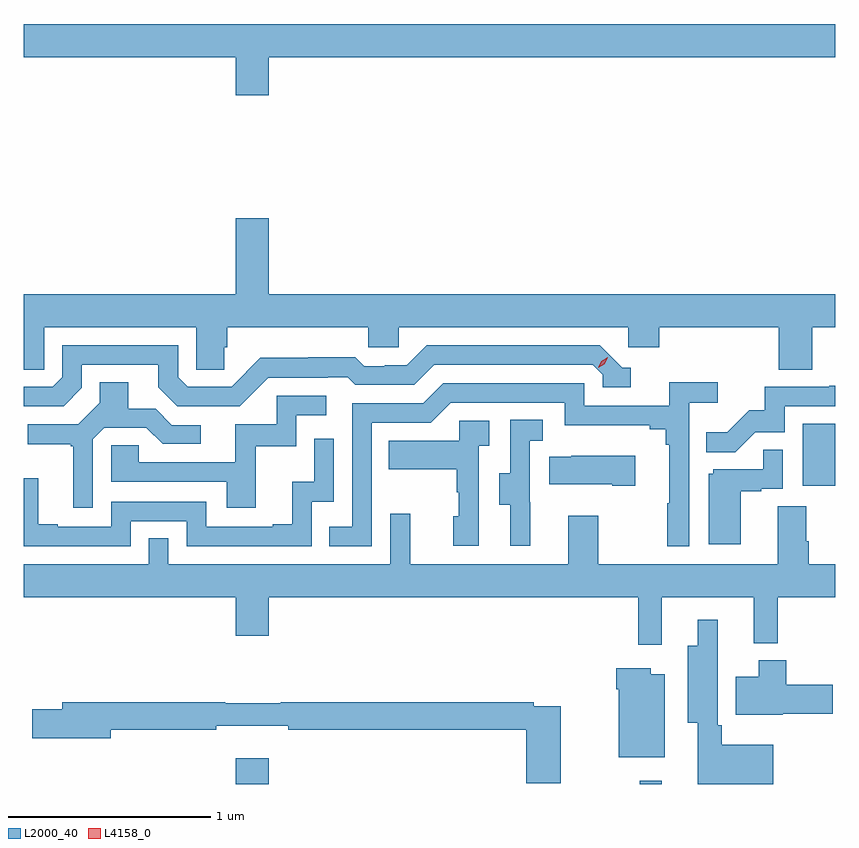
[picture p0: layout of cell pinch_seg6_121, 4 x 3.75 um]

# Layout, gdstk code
import gdstk
lib = gdstk.Library(unit=1e-6, precision=1e-09)
def R(c, l, rs):  # rectangles x0, y0, x1, y1
    for r in rs: c.add(gdstk.rectangle(r[:2], r[2:], *l))
def P(c, l, *ps):  # polygons
    for p in ps: c.add(gdstk.Polygon(p, *l))
L2000_40 = (2000, 40)
L4158_0 = (4158, 0)

pinch_seg6_121 = lib.new_cell('pinch_seg6_121')
R(pinch_seg6_121, L2000_40, [(1004.168,930.432,1004.332,930.559), (1006.161,930.432,1006.27,930.448), (1006.964,931.902,1007.124,932.209)])
P(pinch_seg6_121, L2000_40, [(1004.332,934.016),(1007.124,934.016),(1007.124,934.18),(1003.124,934.18),(1003.124,934.016),(1004.168,934.016),(1004.168,933.828),(1004.332,933.828)],
  [(1003.224,932.684),(1003.974,932.684),(1003.974,932.476),(1004.111,932.476),(1004.111,932.586),(1004.126,932.586),(1004.126,932.684),(1004.823,932.684),(1004.823,932.586),(1004.973,932.586),(1004.973,932.684),(1006.104,932.684),(1006.104,932.586),(1006.256,932.586),(1006.256,932.684),(1006.847,932.684),(1006.847,932.476),(1007.012,932.476),(1007.012,932.684),(1007.124,932.684),(1007.124,932.848),(1004.332,932.848),(1004.332,933.223),(1004.168,933.223),(1004.168,932.848),(1003.124,932.848),(1003.124,932.476),(1003.224,932.476)],
  [(1003.41,932.385),(1003.41,932.499),(1003.787,932.499),(1003.787,932.389),(1003.881,932.295),(1004.187,932.295),(1004.328,932.436),(1004.621,932.436),(1004.621,932.439),(1004.72,932.439),(1004.759,932.4),(1005.048,932.4),(1005.147,932.499),(1005.93,932.499),(1005.978,932.451),(1005.978,932.388),(1006.117,932.388),(1006.117,932.484),(1006.074,932.484),(1005.963,932.595),(1005.11,932.595),(1005.011,932.496),(1004.904,932.496),(1004.904,932.493),(1004.801,932.493),(1004.759,932.536),(1004.526,932.536),(1004.526,932.533),(1004.29,932.533),(1004.148,932.391),(1003.932,932.391),(1003.884,932.439),(1003.884,932.595),(1003.314,932.595),(1003.314,932.439),(1003.266,932.391),(1003.124,932.391),(1003.124,932.295),(1003.32,932.295)],
  [(1003.464,932.133),(1003.521,932.19),(1003.727,932.19),(1003.808,932.109),(1003.996,932.109),(1003.996,932.202),(1003.854,932.202),(1003.774,932.282),(1003.639,932.282),(1003.639,932.414),(1003.499,932.414),(1003.499,932.312),(1003.392,932.205),(1003.143,932.205),(1003.143,932.108),(1003.356,932.108),(1003.356,932.097),(1003.367,932.097),(1003.367,931.794),(1003.464,931.794)],
  [(1004.838,932.214),(1005.129,932.214),(1005.228,932.313),(1005.792,932.313),(1005.792,932.201),(1006.211,932.201),(1006.211,932.182),(1006.288,932.182),(1006.288,932.105),(1006.307,932.105),(1006.307,931.817),(1006.296,931.817),(1006.296,931.605),(1006.404,931.605),(1006.404,932.312),(1006.546,932.312),(1006.546,932.414),(1006.307,932.414),(1006.307,932.298),(1005.888,932.298),(1005.888,932.409),(1005.191,932.409),(1005.092,932.31),(1004.742,932.31),(1004.742,931.701),(1004.629,931.701),(1004.629,931.605),(1004.838,931.605)],
  [(1006.731,932.166),(1006.875,932.166),(1006.875,932.295),(1007.124,932.295),(1007.124,932.396),(1007.095,932.396),(1007.095,932.391),(1006.777,932.391),(1006.777,932.274),(1006.7,932.274),(1006.593,932.167),(1006.489,932.167),(1006.489,932.068),(1006.633,932.068)],
  [(1004.267,932.097),(1004.466,932.097),(1004.466,932.25),(1004.614,932.25),(1004.614,932.346),(1004.37,932.346),(1004.37,932.205),(1004.165,932.205),(1004.165,932.019),(1003.691,932.019),(1003.691,932.103),(1003.554,932.103),(1003.554,931.923),(1004.123,931.923),(1004.123,931.794),(1004.267,931.794)],
  [(1005.62,931.821),(1005.618,931.821),(1005.618,932.125),(1005.682,932.125),(1005.682,932.228),(1005.522,932.228),(1005.522,931.965),(1005.467,931.965),(1005.467,931.81),(1005.521,931.81),(1005.521,931.608),(1005.62,931.608)],
  [(1005.366,932.099),(1005.418,932.099),(1005.418,932.223),(1005.27,932.223),(1005.27,932.125),(1004.923,932.125),(1004.923,931.985),(1005.258,931.985),(1005.258,931.871),(1005.268,931.871),(1005.268,931.752),(1005.242,931.752),(1005.242,931.608),(1005.366,931.608)],
  [(1003.65,931.728),(1003.926,931.728),(1003.926,931.605),(1004.544,931.605),(1004.544,931.824),(1004.652,931.824),(1004.652,932.134),(1004.556,932.134),(1004.556,931.922),(1004.447,931.922),(1004.447,931.714),(1004.351,931.714),(1004.351,931.701),(1004.022,931.701),(1004.022,931.824),(1003.554,931.824),(1003.554,931.701),(1003.291,931.701),(1003.291,931.714),(1003.195,931.714),(1003.195,931.939),(1003.124,931.939),(1003.124,931.605),(1003.65,931.605)],
  [(1006.66,931.875),(1006.76,931.875),(1006.76,931.887),(1006.866,931.887),(1006.866,932.081),(1006.771,932.081),(1006.771,931.983),(1006.524,931.983),(1006.524,931.962),(1006.502,931.962),(1006.502,931.614),(1006.66,931.614)],
  [(1006.138,932.05),(1005.823,932.05),(1005.823,932.047),(1005.715,932.047),(1005.715,931.91),(1006.025,931.91),(1006.025,931.903),(1006.138,931.903)],
  [(1006.269,931.352),(1006.724,931.352),(1006.724,931.127),(1006.841,931.127),(1006.841,931.352),(1007.124,931.352),(1007.124,931.516),(1006.994,931.516),(1006.994,931.628),(1006.981,931.628),(1006.981,931.802),(1006.841,931.802),(1006.841,931.516),(1005.957,931.516),(1005.957,931.756),(1005.809,931.756),(1005.809,931.516),(1005.029,931.516),(1005.029,931.765),(1004.931,931.765),(1004.931,931.516),(1003.836,931.516),(1003.836,931.643),(1003.74,931.643),(1003.74,931.516),(1003.124,931.516),(1003.124,931.352),(1004.168,931.352),(1004.168,931.164),(1004.332,931.164),(1004.332,931.352),(1006.153,931.352),(1006.153,931.119),(1006.269,931.119)],
  [(1006.818,930.625),(1006.565,930.625),(1006.565,930.721),(1006.546,930.721),(1006.546,930.957),(1006.545,930.957),(1006.545,931.243),(1006.448,931.243),(1006.448,931.114),(1006.397,931.114),(1006.397,930.734),(1006.448,930.734),(1006.448,930.432),(1006.818,930.432)],
  [(1006.866,930.779),(1007.113,930.779),(1007.113,930.921),(1006.883,930.921),(1006.883,931.042),(1006.748,931.042),(1006.748,930.961),(1006.634,930.961),(1006.634,930.773),(1006.866,930.773)],
  [(1006.285,930.973),(1006.216,930.973),(1006.216,931.003),(1006.046,931.003),(1006.046,930.899),(1006.058,930.899),(1006.058,930.563),(1006.285,930.563)],
  [(1005.772,930.816),(1005.638,930.816),(1005.638,930.836),(1004.391,930.836),(1004.391,930.829),(1004.117,930.829),(1004.117,930.836),(1003.313,930.836),(1003.313,930.8),(1003.164,930.8),(1003.164,930.658),(1003.552,930.658),(1003.552,930.7),(1004.072,930.7),(1004.072,930.719),(1004.428,930.719),(1004.428,930.7),(1005.602,930.7),(1005.602,930.435),(1005.772,930.435)])
P(pinch_seg6_121, L4158_0, [(1005.955,932.484),(1005.955,932.484),(1005.972,932.516),(1006.002,932.536),(1006.003,932.536),(1006.003,932.535),(1005.986,932.503),(1005.955,932.484)])

lib.write_gds('pinch_seg6_121.gds')
